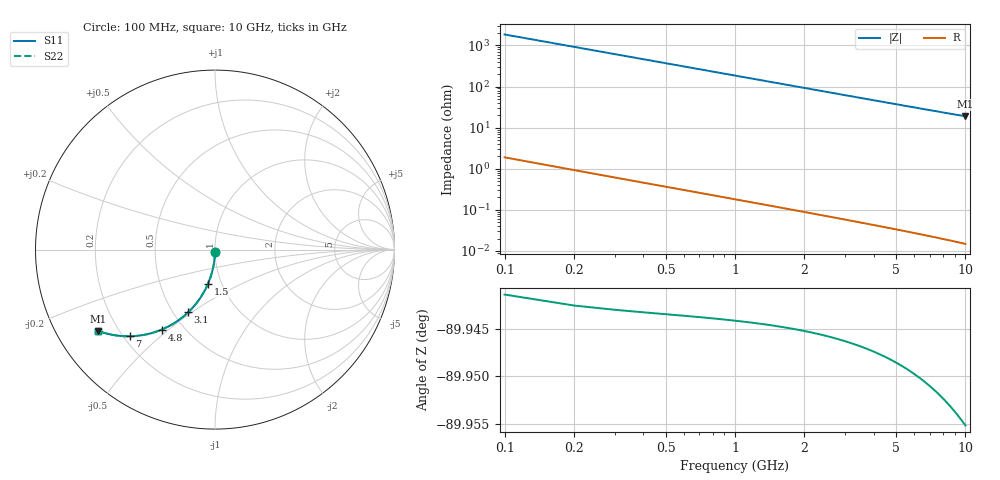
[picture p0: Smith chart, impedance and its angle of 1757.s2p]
# Hz S RI R 50.00
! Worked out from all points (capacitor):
!   100 points, 100 MHz to 10 GHz, reference 50 ohm
!   read as one part in shunt: C = 860 fF near 100 MHz
!   lowest |Z| = 18.9 ohm at 10 GHz (marker M1)
!   S11 on the Smith chart (normalised r, x): 100 MHz: 1.00, -0.03; 1.5 GHz: 0.86, -0.34; 3.1 GHz: 0.59, -0.48; 4.8 GHz: 0.38, -0.47; 7 GHz: 0.23, -0.40; 10 GHz: 0.13, -0.31
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1e8  -2.61e-05 -0.0133  0.9996 -0.0137  0.9996 -0.0137  -2.61e-05 -0.0133
2e8  -0.000585 -0.0265  0.9991 -0.0274  0.9991 -0.0274  -0.000585 -0.0265
3e8  -0.00151 -0.0398  0.9981 -0.0411  0.9981 -0.0411  -0.00151 -0.0398
4e8  -0.00279 -0.0529  0.9969 -0.0548  0.9969 -0.0548  -0.00279 -0.0529
5e8  -0.00443 -0.0661  0.9952 -0.0683  0.9952 -0.0683  -0.00443 -0.0661
6e8  -0.00642 -0.0791  0.9932 -0.0818  0.9932 -0.0818  -0.00642 -0.0791
7e8  -0.00877 -0.0921  0.9909 -0.0953  0.9909 -0.0953  -0.00877 -0.0921
9e8  -0.0145 -0.1177  0.9851 -0.1218  0.9851 -0.1218  -0.0145 -0.1177
1.2e9  -0.0256 -0.1551  0.9741 -0.1606  0.9741 -0.1606  -0.0256 -0.1551
1.5e9  -0.0394 -0.1911  0.9602 -0.1979  0.9602 -0.1979  -0.0394 -0.1911
1.8e9  -0.0558 -0.2254  0.9438 -0.2335  0.9438 -0.2335  -0.0558 -0.2254
2.4e9  -0.0952 -0.2878  0.9044 -0.2987  0.9044 -0.2987  -0.0952 -0.2878
3.1e9  -0.1494 -0.3492  0.8501 -0.3632  0.8501 -0.3632  -0.1494 -0.3492
3.4e9  -0.1745 -0.3715  0.825 -0.3869  0.825 -0.3869  -0.1745 -0.3715
4.1e9  -0.2353 -0.4145  0.7642 -0.4331  0.7642 -0.4331  -0.2353 -0.4145
4.8e9  -0.2968 -0.4456  0.7026 -0.4674  0.7026 -0.4674  -0.2968 -0.4456
5.1e9  -0.3228 -0.4556  0.6765 -0.4788  0.6765 -0.4788  -0.3228 -0.4556
5.9e9  -0.3899 -0.4739  0.6094 -0.5007  0.6094 -0.5007  -0.3899 -0.4739
6.7e9  -0.4522 -0.4819  0.5469 -0.5125  0.5469 -0.5125  -0.4522 -0.4819
7e9  -0.4742 -0.4828  0.5249 -0.5148  0.5249 -0.5148  -0.4742 -0.4828
8.4e9  -0.5659 -0.4758  0.4329 -0.5143  0.4329 -0.5143  -0.5659 -0.4758
1e10  -0.65 -0.4532  0.3485 -0.4992  0.3485 -0.4992  -0.65 -0.4532
